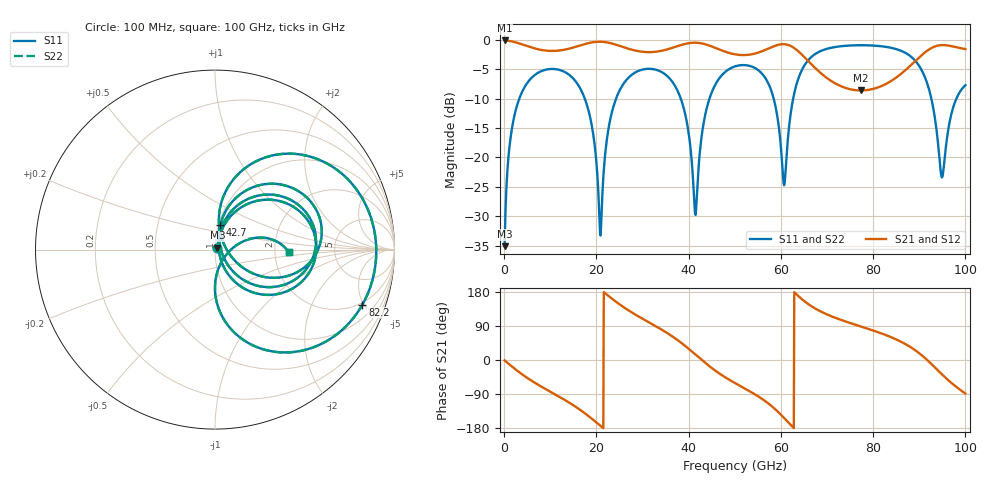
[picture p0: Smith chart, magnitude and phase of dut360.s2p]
! Touchstone file exported from HFSS 2026.1.0
!  File:  C:/ffzhzh/LocalFiles/Ansys_Project_Files/temp_train_TSV_RDL_360_1783710435_45164.aedt
!  Generated:  03:17:06 AM Jul 11, 2026
!  Design:  TSV_RDL
!  Project:  temp_train_TSV_RDL_360_1783710435_45164
! Variables:
!  h_bsmrdl = 3.73um
!  h_ox = 20um
!  h_rdl = 5um
!  h_sub = 66.34um
!  h_tmrdl = 3.77um
!  h_tsv = 66.34um
!  h_via = 3um
!  l_bsmrdl = 162.13um
!  l_sub = 2842.38um
!  l_tmrdl = 455.09um
!  m_sub = 200um
!  pitch = 51.19um
!  r_tsv = 6.26um
!  s_tmrdl = 10um
!  w_bsmrdl = 27.34um
!  w_sub = 500um
!  w_tmrdl = 17.87um
!  x_tsv_center1 = 464.025um
!  x_tsv_center2 = 653.495um
!  x_tsv_center3 = 1126.455um
!  x_tsv_center4 = 1315.925um
!  x_tsv_center5 = 1788.885um
!  x_tsv_center6 = 1978.355um
# GHz S MA R 50.000000
! Terminal data exported
! Port[1] = TM_RDL1_1_T1
! Port[2] = TM_RDL5_1_T1
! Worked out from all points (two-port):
!   1000 points, 100 MHz to 100 GHz, reference 50 ohm
!   highest |S21| = -0.12 dB at 100 MHz (marker M1); lowest = -8.6 dB at 77.4 GHz (marker M2)
!   |S21| within 3 dB of the highest: start of sweep to 65.31 GHz; 89.81 GHz to end of sweep
!   lowest |S11| = -35.1 dB at 100 MHz (marker M3), VSWR 1.04, Z = 51.4 + j1.14 ohm
!   |S11| at or under -10 dB: 17.48 GHz to 24.27 GHz (6.794 GHz wide, 32.5 % of centre); 38.29 GHz to 44.52 GHz (6.227 GHz wide, 15 % of centre); 92.61 GHz to 98.05 GHz (5.437 GHz wide, 5.7 % of centre) (the widest 3 of 5)
!   |S22| runs from -35.1 to -0.9 dB; largest |S21 - S12| = 1.8e-14
!   S11 on the Smith chart (normalised r, x): 100 MHz: 1.03, +0.02; 42.7 GHz: 1.02, +0.28; 82.2 GHz: 1.84, -4.86; 100 GHz: 2.39, -0.09
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0.1  0.01758 39.2  0.9865 -1.1  0.9865 -1.1  0.01758 39.2
! Gamma 0 0 0 0
! Port Impedance 50 0 50 0
1.6  0.1674 67.9  0.9691 -16.3  0.9691 -16.3  0.1674 67.9
4.5  0.3999 44.1  0.8963 -43.1  0.8963 -43.1  0.3999 44.1
10.7  0.5646 0.3  0.8041 -88.4  0.8041 -88.4  0.5646 0.3
16.8  0.3652 -43.3  0.9027 -134.4  0.9027 -134.4  0.3652 -43.3
20.9  0.02167 12.9  0.9621 -173.8  0.9621 -173.8  0.02137 13.0
24.5  0.3333 57.3  0.9013 151.4  0.9013 151.4  0.3333 57.3
33.4  0.548 -4.5  0.7965 85.6  0.7965 85.6  0.548 -4.5
38.7  0.2823 -42.9  0.9101 42.4  0.9101 42.4  0.2823 -42.9
41.4  0.03303 1.4  0.9441 15.1  0.9441 15.1  0.03282 1.3
42.7  0.1392 77.5  0.9333 1.5  0.9333 1.5  0.1391 77.6
50.1  0.5945 27.4  0.7515 -61.2  0.7515 -61.2  0.5944 27.4
57.3  0.4233 -20.6  0.8421 -114.9  0.8421 -114.9  0.4232 -20.7
60.7  0.05792 24.9  0.9168 -153.1  0.9168 -153.1  0.05774 25.0
63.1  0.3786 76.9  0.8388 176.6  0.8388 176.6  0.3786 76.9
66.7  0.7191 47.2  0.6145 141.3  0.6145 141.3  0.7192 47.2
77.4  0.8986 -2.1  0.3708 88.2  0.3708 88.2  0.8987 -2.1
82.2  0.8766 -20.5  0.4104 68.3  0.4104 68.3  0.8766 -20.5
83.4  0.8619 -25.7  0.4343 62.7  0.4343 62.7  0.862 -25.7
91  0.5044 -74.5  0.7676 7.7  0.7676 7.7  0.5046 -74.5
94.9  0.0675 -38.0  0.9007 -37.6  0.9007 -37.6  0.06769 -38.2
100  0.4105 -2.1  0.8339 -88.7  0.8339 -88.7  0.4104 -2.1
